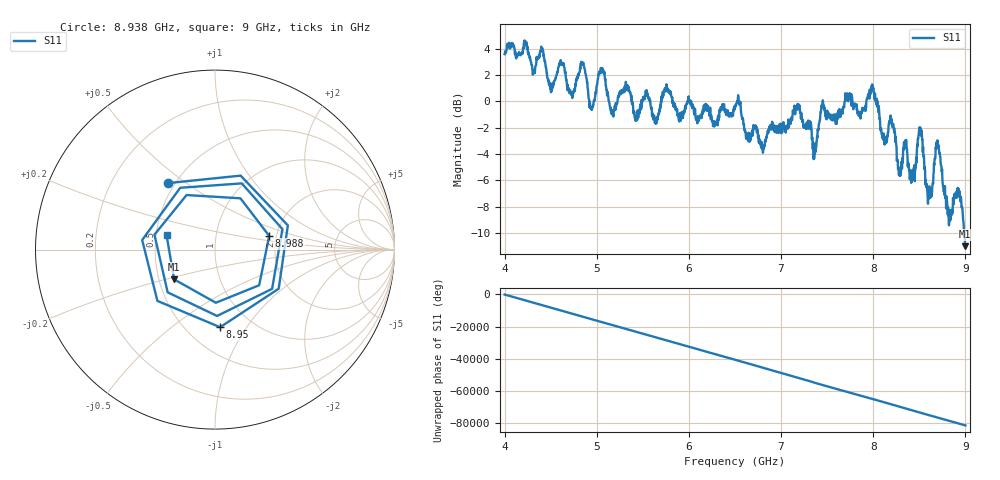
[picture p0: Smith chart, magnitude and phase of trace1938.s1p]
! Created with skrf 1.8.0 (http://scikit-rf.org).
# Hz S RI R 50.0
!freq ReS11 ImS11
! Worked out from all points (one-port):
!   1601 points, 4 GHz to 9 GHz, reference 50 ohm
!   lowest |S11| = -11.0 dB at 8.997 GHz (marker M1), VSWR 1.78, Z = 30 - j10.8 ohm
!   |S11| at or under -10 dB: 8.985424 GHz to end of sweep
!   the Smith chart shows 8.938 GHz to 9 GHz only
!   S11 on the Smith chart (normalised r, x): 8.938 GHz: 0.46, +0.43; 8.95 GHz: 0.72, -0.76; 8.988 GHz: 1.83, +0.31; 9 GHz: 0.57, +0.10
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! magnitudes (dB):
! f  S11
! 4 GHz  3.6
! 4.625 GHz  2.8
! 4.725 GHz  0.5
! 4.85 GHz  2.8
! 4.941 GHz  -0.6
! 5.047 GHz  2.3
! 5.162 GHz  -1.0
! 5.25 GHz  0.7
! 5.875 GHz  -1.1
! 6.5 GHz  -0.4
! 6.797 GHz  -3.6
! 7.125 GHz  -1.1
! 7.369 GHz  -3.6
! 7.45 GHz  -0.1
! 7.75 GHz  0.6
! 7.994 GHz  1.1
! 8.281 GHz  -5.5
! 8.375 GHz  -5.0
! 8.438 GHz  -5.6
! 8.509 GHz  -2.2
! 8.609 GHz  -6.5
! 8.7 GHz  -3.1
! 8.822 GHz  -9.4
! 8.938 GHz  -6.8
! 8.95 GHz  -7.3
! 8.988 GHz  -10.1
! 8.997 GHz  -11.0
! 9 GHz  -11.0
